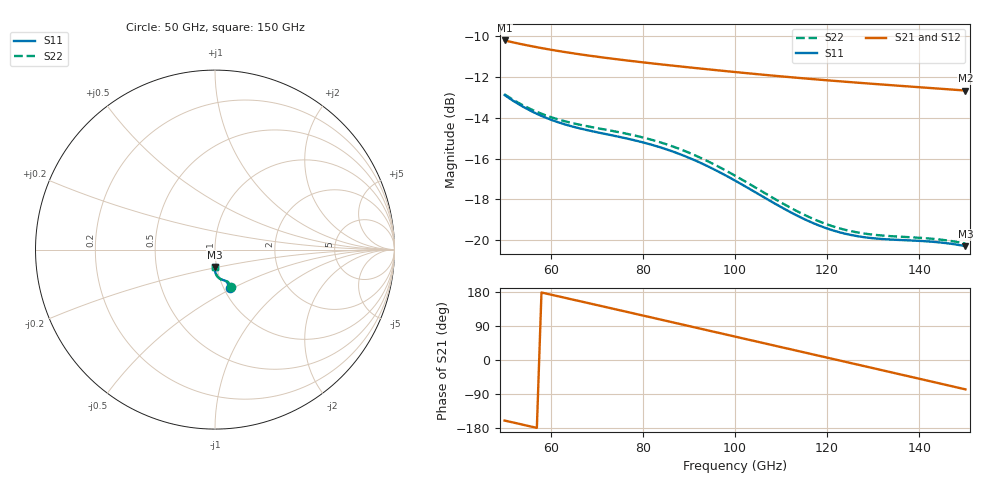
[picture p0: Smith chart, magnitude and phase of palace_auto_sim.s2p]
#  GHZ S DB R 50
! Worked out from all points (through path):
!   101 points, 50 GHz to 150 GHz, reference 50 ohm
!   highest |S21| = -10.21 dB at 50 GHz (marker M1); lowest = -12.7 dB at 150 GHz (marker M2)
!   group delay of S21, straight-line fit = 7.71 ps
!   lowest |S11| = -20.3 dB at 150 GHz (marker M3), VSWR 1.21, Z = 48.9 - j9.54 ohm
!   |S11| at or under -10 dB: start of sweep to end of sweep
!   |S22| runs from -20.2 to -12.9 dB; largest |S21 - S12| = 4.9e-13
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50  -12.89 -69.0  -10.21 -159.8  -10.21 -159.8  -12.86 -67.1
54  -13.46 -69.3  -10.41 -170.8  -10.41 -170.8  -13.39 -67.3
58  -13.91 -69.6  -10.59 178.1  -10.59 178.1  -13.80 -67.5
62  -14.25 -69.9  -10.74 167.1  -10.74 167.1  -14.11 -67.8
67  -14.56 -70.7  -10.91 153.4  -10.91 153.4  -14.38 -68.7
72  -14.80 -72.2  -11.07 139.6  -11.07 139.6  -14.59 -70.4
76  -14.99 -74.0  -11.18 128.5  -11.18 128.5  -14.76 -72.2
80  -15.21 -76.1  -11.29 117.4  -11.29 117.4  -14.97 -74.4
84  -15.47 -78.4  -11.39 106.3  -11.39 106.3  -15.22 -76.9
88  -15.78 -80.8  -11.48 95.2  -11.48 95.2  -15.53 -79.5
92  -16.16 -83.2  -11.58 84.1  -11.58 84.1  -15.91 -82.0
96  -16.59 -85.4  -11.67 72.9  -11.67 72.9  -16.35 -84.2
100  -17.08 -87.3  -11.76 61.8  -11.76 61.8  -16.84 -86.2
109  -18.25 -89.5  -11.95 36.8  -11.95 36.8  -18.03 -88.6
113  -18.74 -89.6  -12.03 25.7  -12.03 25.7  -18.53 -88.7
117  -19.17 -89.1  -12.11 14.6  -12.11 14.6  -18.96 -88.3
121  -19.50 -88.3  -12.18 3.5  -12.18 3.5  -19.31 -87.6
125  -19.74 -87.5  -12.26 -7.7  -12.26 -7.7  -19.55 -86.8
129  -19.88 -86.9  -12.32 -18.8  -12.32 -18.8  -19.70 -86.3
134  -19.97 -86.7  -12.41 -32.7  -12.41 -32.7  -19.81 -86.1
142  -20.06 -88.1  -12.54 -55.1  -12.54 -55.1  -19.92 -87.6
150  -20.29 -91.0  -12.67 -77.4  -12.67 -77.4  -20.17 -90.7
